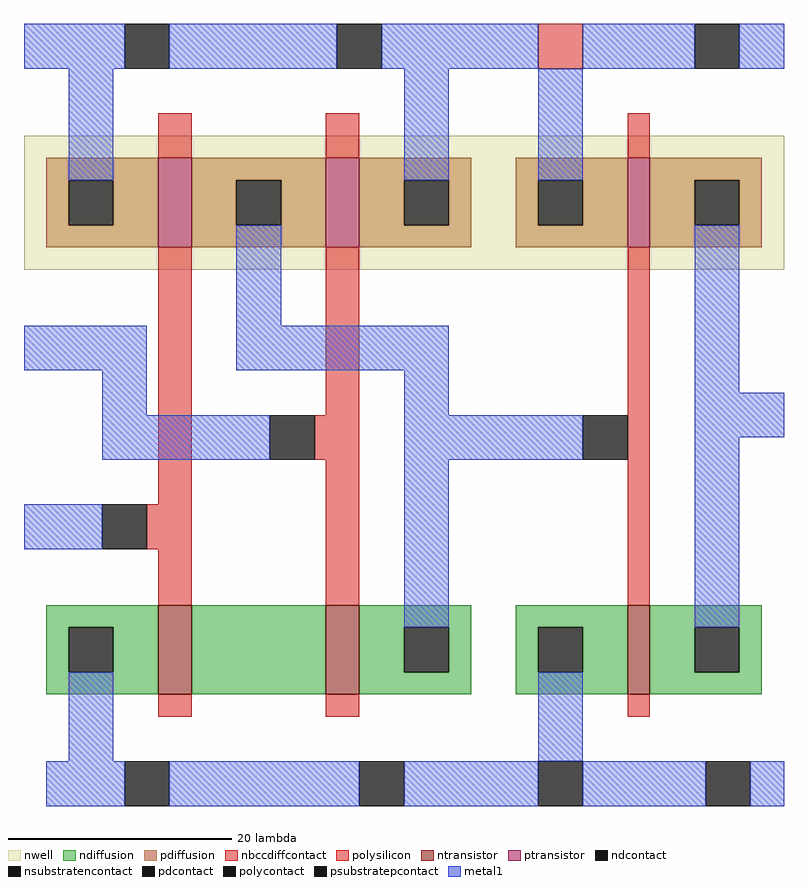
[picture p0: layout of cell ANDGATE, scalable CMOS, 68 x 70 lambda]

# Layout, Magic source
magic
tech scmos
<< nwell >>
rect 0 48 68 60
<< polysilicon >>
rect 12 58 15 62
rect 27 58 30 62
rect 54 58 56 62
rect 12 27 15 50
rect 27 35 30 50
rect 26 31 30 35
rect 11 23 15 27
rect 12 18 15 23
rect 27 18 30 31
rect 54 18 56 50
rect 12 8 15 10
rect 27 8 30 10
rect 54 8 56 10
<< ndiffusion >>
rect 2 16 12 18
rect 2 12 4 16
rect 8 12 12 16
rect 2 10 12 12
rect 15 10 27 18
rect 30 16 40 18
rect 30 12 34 16
rect 38 12 40 16
rect 30 10 40 12
rect 44 16 54 18
rect 44 12 46 16
rect 50 12 54 16
rect 44 10 54 12
rect 56 16 66 18
rect 56 12 60 16
rect 64 12 66 16
rect 56 10 66 12
<< pdiffusion >>
rect 2 56 12 58
rect 2 52 4 56
rect 8 52 12 56
rect 2 50 12 52
rect 15 56 27 58
rect 15 52 19 56
rect 23 52 27 56
rect 15 50 27 52
rect 30 56 40 58
rect 30 52 34 56
rect 38 52 40 56
rect 30 50 40 52
rect 44 56 54 58
rect 44 52 46 56
rect 50 52 54 56
rect 44 50 54 52
rect 56 56 66 58
rect 56 52 60 56
rect 64 52 66 56
rect 56 50 66 52
<< metal1 >>
rect 0 66 9 70
rect 13 66 28 70
rect 32 66 46 70
rect 50 66 60 70
rect 64 66 68 70
rect 4 56 8 66
rect 34 56 38 66
rect 46 56 50 66
rect 19 43 23 52
rect 0 39 11 43
rect 19 39 38 43
rect 7 35 11 39
rect 34 35 38 39
rect 60 37 64 52
rect 7 31 22 35
rect 34 31 50 35
rect 60 33 68 37
rect 0 23 7 27
rect 34 16 38 31
rect 60 16 64 33
rect 4 4 8 12
rect 46 4 50 12
rect 2 0 9 4
rect 13 0 30 4
rect 34 0 46 4
rect 50 0 61 4
rect 65 0 68 4
<< ntransistor >>
rect 12 10 15 18
rect 27 10 30 18
rect 54 10 56 18
<< ptransistor >>
rect 12 50 15 58
rect 27 50 30 58
rect 54 50 56 58
<< polycontact >>
rect 22 31 26 35
rect 50 31 54 35
rect 7 23 11 27
<< ndcontact >>
rect 4 12 8 16
rect 34 12 38 16
rect 46 12 50 16
rect 60 12 64 16
<< pdcontact >>
rect 4 52 8 56
rect 19 52 23 56
rect 34 52 38 56
rect 46 52 50 56
rect 60 52 64 56
<< nbccdiffcontact >>
rect 46 66 50 70
<< psubstratepcontact >>
rect 9 0 13 4
rect 30 0 34 4
rect 46 0 50 4
rect 61 0 65 4
<< nsubstratencontact >>
rect 9 66 13 70
rect 28 66 32 70
rect 60 66 64 70
<< end >>
